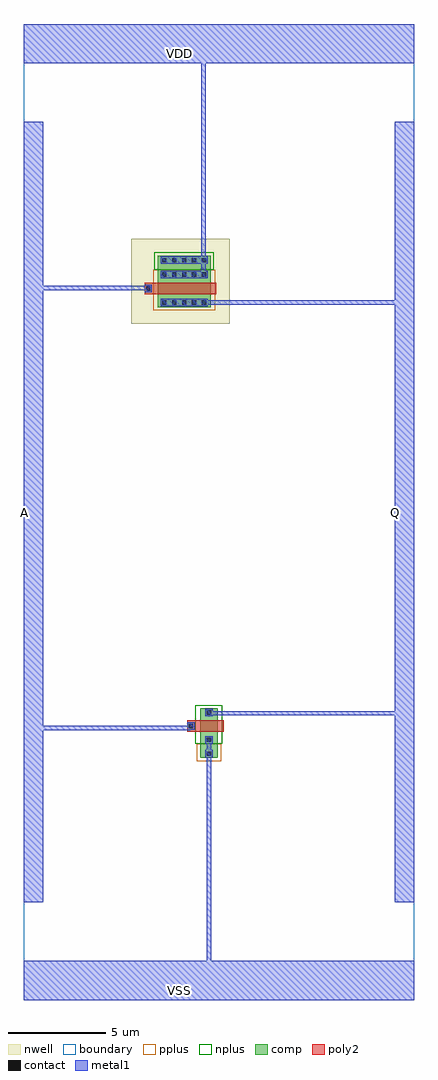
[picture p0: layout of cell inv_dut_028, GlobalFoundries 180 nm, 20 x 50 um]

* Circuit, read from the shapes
.subckt inv_dut_028 A Q VDD VSS
XM1 Q A VSS VSS nfet_03v3 w=0.9u l=0.6u
XM2 VDD A Q VDD pfet_03v3 w=2.7u l=0.6u
.ends

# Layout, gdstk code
from math import pi, radians
import gdstk
lib = gdstk.Library(unit=1e-6, precision=1e-09)
def R(c, l, rs):  # rectangles x0, y0, x1, y1
    for r in rs: c.add(gdstk.rectangle(r[:2], r[2:], *l))
def A(c, l, x, y, w, h, nx, ny, dx, dy):  # array of equal rectangles
    R(c, l, [(x+i*dx, y+j*dy, x+i*dx+w, y+j*dy+h) for i in range(nx) for j in range(ny)])
boundary = (0, 0)
nwell = (21, 0)
comp = (22, 0)
poly2 = (30, 0)
pplus = (31, 0)
nplus = (32, 0)
contact = (33, 0)
metal1 = (34, 0)

pfet = lib.new_cell('pfet')
R(pfet, nwell, [(-1.32,-0.99,3.03,4.07)])
R(pfet, comp, [(-0.46,0,2.17,2.7)])
R(pfet, poly2, [(0.19,-0.3,0.79,3.38)])
R(pfet, pplus, [(-0.63,-0.24,1.44,2.94)])
R(pfet, nplus, [(1.44,-0.17,2.34,2.87)])
A(pfet, contact, -0.34, 0.22, 0.22, 0.22, 1, 5, 0, 0.51)
A(pfet, contact, 1.1, 0.22, 0.22, 0.22, 1, 5, 0, 0.51)
A(pfet, contact, 1.83, 0.22, 0.22, 0.22, 1, 5, 0, 0.51)
R(pfet, contact, [(0.38,3.08,0.6,3.3)])
R(pfet, metal1, [(-0.42,0.14,-0.04,2.56), (1.02,0.14,1.4,2.56), (1.75,0.14,2.13,2.56), (0.3,3,0.68,3.38)])

nfet = lib.new_cell('nfet')
R(nfet, comp, [(-0.42,0,2.11,0.9)])
R(nfet, poly2, [(0.19,-0.3,0.79,1.56)])
R(nfet, pplus, [(1.4,-0.17,2.28,1.07)])
R(nfet, nplus, [(-0.59,-0.24,1.4,1.14)])
R(nfet, contact, [(-0.32,0.34,-0.1,0.56), (1.08,0.34,1.3,0.56), (1.79,0.34,2.01,0.56), (0.38,1.27,0.6,1.49)])
R(nfet, metal1, [(-0.4,0.26,-0.02,0.64), (1,0.26,1.38,0.64), (1.71,0.26,2.09,0.64), (0.3,1.19,0.68,1.57)])

inv_dut_028 = lib.new_cell('inv_dut_028')
R(inv_dut_028, boundary, [(-10,-25,10,25)])
R(inv_dut_028, metal1, [(-10,-25,10,-23), (-10,-20,-9,20), (9,-20,10,20), (-10,23,10,25)])
inv_dut_028.add(gdstk.FlexPath([(-3.62,11.47),(-9.355,11.47)], 0.23, ends="flush", simple_path=True, layer=34, datatype=0))  # metal1
inv_dut_028.add(gdstk.FlexPath([(-0.79,12.1),(-0.79,23.41)], 0.23, ends="flush", simple_path=True, layer=34, datatype=0))  # metal1
inv_dut_028.add(gdstk.FlexPath([(-0.51,-11.645),(-0.51,-23.57),(-0.51,-23.57)], 0.23, ends="flush", simple_path=True, layer=34, datatype=0))  # metal1
inv_dut_028.add(gdstk.FlexPath([(-1.485,-11.055),(-9.46,-11.055)], 0.23, ends="flush", simple_path=True, layer=34, datatype=0))  # metal1
inv_dut_028.add(gdstk.FlexPath([(-0.765,10.74),(9.515,10.74)], 0.23, ends="flush", simple_path=True, layer=34, datatype=0))  # metal1
inv_dut_028.add(gdstk.FlexPath([(-0.425,-10.31),(9.485,-10.31)], 0.23, ends="flush", simple_path=True, layer=34, datatype=0))  # metal1
inv_dut_028.add(gdstk.Reference(pfet, (-0.435,10.96), rotation=pi/2))
inv_dut_028.add(gdstk.Reference(nfet, (-0.065,-10.48), rotation=3*pi/2, x_reflection=True))
inv_dut_028.add(gdstk.Label('VDD', (-2,23.5), layer=34, texttype=10))
inv_dut_028.add(gdstk.Label('VSS', (-2,-24.5), layer=34, texttype=10))
inv_dut_028.add(gdstk.Label('A', (-9.97,0), layer=34, texttype=10))
inv_dut_028.add(gdstk.Label('Q', (9.03,0), layer=34, texttype=10))

lib.write_gds('inv_dut_028.gds')
